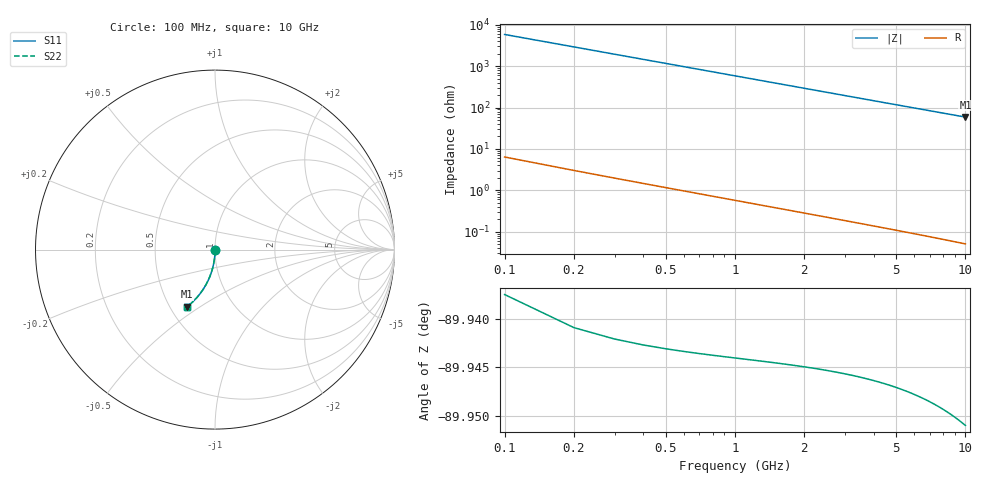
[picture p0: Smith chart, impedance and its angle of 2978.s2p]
# Hz S RI R 50.00
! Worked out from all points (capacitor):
!   100 points, 100 MHz to 10 GHz, reference 50 ohm
!   read as one part in shunt: C = 272 fF near 100 MHz
!   lowest |Z| = 58.9 ohm at 10 GHz (marker M1)
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1e8  0.000296 -0.00382  0.9997 -0.00473  0.9997 -0.00473  0.000296 -0.00382
2e8  0.000239 -0.00765  0.9996 -0.00947  0.9996 -0.00947  0.000239 -0.00765
3e8  0.000146 -0.0115  0.9995 -0.0142  0.9995 -0.0142  0.000146 -0.0115
4e8  1.67e-05 -0.0153  0.9994 -0.0189  0.9994 -0.0189  1.67e-05 -0.0153
5e8  -0.000149 -0.0191  0.9992 -0.0237  0.9992 -0.0237  -0.000149 -0.0191
6e8  -0.000351 -0.0229  0.999 -0.0284  0.999 -0.0284  -0.000351 -0.0229
7e8  -0.00059 -0.0267  0.9987 -0.0331  0.9987 -0.0331  -0.00059 -0.0267
8e8  -0.000864 -0.0305  0.9985 -0.0378  0.9985 -0.0378  -0.000864 -0.0305
9e8  -0.00117 -0.0344  0.9981 -0.0426  0.9981 -0.0426  -0.00117 -0.0344
1.1e9  -0.0019 -0.042  0.9974 -0.052  0.9974 -0.052  -0.0019 -0.042
1.4e9  -0.00326 -0.0533  0.996 -0.0661  0.996 -0.0661  -0.00326 -0.0533
1.8e9  -0.00558 -0.0684  0.9936 -0.0848  0.9936 -0.0848  -0.00558 -0.0684
2.1e9  -0.00768 -0.0796  0.9915 -0.0988  0.9915 -0.0988  -0.00768 -0.0796
2.5e9  -0.011 -0.0945  0.9881 -0.1172  0.9881 -0.1172  -0.011 -0.0945
2.9e9  -0.0148 -0.1091  0.9842 -0.1356  0.9842 -0.1356  -0.0148 -0.1091
3.4e9  -0.0204 -0.1272  0.9785 -0.1582  0.9785 -0.1582  -0.0204 -0.1272
4.2e9  -0.0309 -0.1553  0.9677 -0.1936  0.9677 -0.1936  -0.0309 -0.1553
5.1e9  -0.0451 -0.1856  0.9531 -0.2322  0.9531 -0.2322  -0.0451 -0.1856
5.9e9  -0.0596 -0.2112  0.9383 -0.2652  0.9383 -0.2652  -0.0596 -0.2112
6.7e9  -0.0757 -0.2354  0.9217 -0.2967  0.9217 -0.2967  -0.0757 -0.2354
8.4e9  -0.1146 -0.2817  0.8817 -0.3587  0.8817 -0.3587  -0.1146 -0.2817
1e10  -0.1556 -0.3184  0.8394 -0.4103  0.8394 -0.4103  -0.1556 -0.3184
